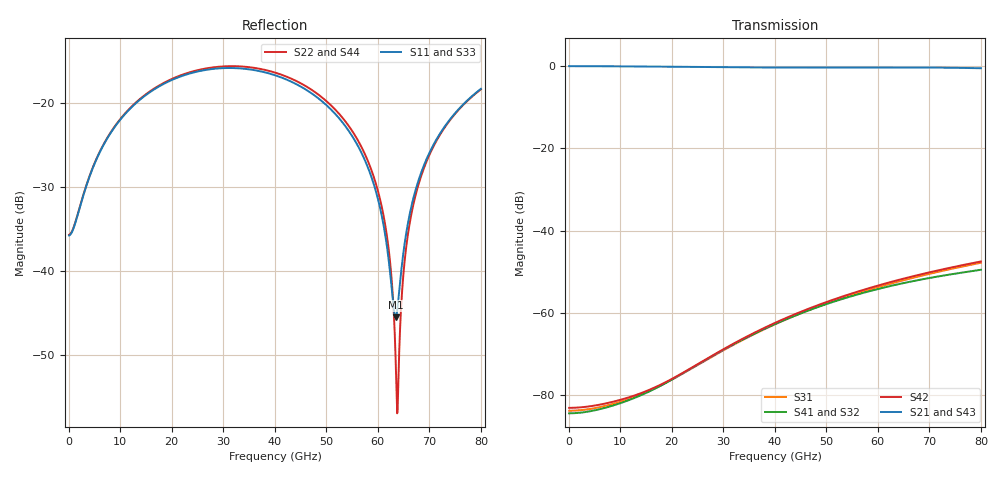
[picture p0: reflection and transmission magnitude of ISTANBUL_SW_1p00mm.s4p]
! TOUCHSTONE file generated by CST MICROWAVE STUDIO
! Date and time: Wed Oct 21 13:39:17 2026
! Project name: TEST0_XTALK_SW_1mm.cst
! Parameters = {L=1; L1=0.01; L2=0.076; PITCH=0.2; START_POSITION=0.075; W1=0.002; W2=0.022; gap=0.00415; interaxis=0.625; ln_thickness=0.000275; mtx=0.002; si_thickness=0.3; sio2_thickness=0.0047; w=1; wg=0.03; ws=0.01}
! Header version: 2024
! Port assignment regex: !\s*Touchstone port\s*([0-9]+)\s*=\s*(CST MWS port|CST DES external port|CST DES block port)\s*(.+)\s* \(\"(.*)\"\)(\s*mode\s*([0-9]+))?.*
! Touchstone port assignment:
! Touchstone port 1 = CST MWS port 1 ("")
! Touchstone port 2 = CST MWS port 2 ("")
! Touchstone port 3 = CST MWS port 3 ("")
! Touchstone port 4 = CST MWS port 4 ("")
# GHz S MA R 50
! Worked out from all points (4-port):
!   1000 points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, 80 MHz to 80 GHz, reference 50 ohm
!   strongest paths, dB at 80 MHz, 20.08 GHz, 40.08 GHz, 60.08 GHz, 80 GHz:
!     S21: -0.1, -0.3, -0.5, -0.4, -0.6
!     S43: -0.1, -0.3, -0.5, -0.4, -0.6
!     S42: -83.0, -75.9, -62.4, -53.3, -47.5
!     S41: -84.3, -76.1, -62.6, -54.2, -49.5
!     S32: -84.3, -76.1, -62.6, -54.2, -49.5
!     S31: -83.7, -76.1, -62.7, -53.7, -47.8
!   lowest |S11| = -45.5 dB at 63.44 GHz (marker M1), VSWR 1.01, Z = 50.5 + j0.0504 ohm
!   |S11| at or under -10 dB: start of sweep to end of sweep
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0.08  0.01632 2.1  0.9835 -0.2  6.532e-05 178.9  6.08e-05 -1.1
      0.9835 -0.2  0.01648 2.0  6.083e-05 -1.1  7.081e-05 178.9
      6.532e-05 178.9  6.083e-05 -1.1  0.01632 2.1  0.9835 -0.2
      6.08e-05 -1.1  7.081e-05 178.9  0.9835 -0.2  0.01648 2.0
15.2  0.1136 40.1  0.9738 -42.9  0.0001104 -15.5  0.0001087 161.2
      0.9738 -42.9  0.1148 35.8  0.0001087 161.2  0.000114 -13.5
      0.0001104 -15.5  0.0001087 161.2  0.1136 40.1  0.9738 -42.9
      0.0001087 161.2  0.000114 -13.5  0.9738 -42.9  0.1148 35.8
41.92  0.1403 -27.9  0.9464 -116.2  0.0008209 100.5  0.0008261 -80.9
       0.9464 -116.2  0.146 -40.9  0.0008261 -80.9  0.0008565 100.7
       0.0008209 100.5  0.0008261 -80.9  0.1403 -27.9  0.9464 -116.2
       0.0008261 -80.9  0.0008565 100.7  0.9464 -116.2  0.146 -40.9
58.4  0.03909 -64.1  0.9495 -161.6  0.001921 -15.9  0.00184 163.3
      0.9495 -161.6  0.04282 -87.5  0.00184 163.4  0.002011 -14.8
      0.001921 -15.9  0.00184 163.4  0.03909 -64.1  0.9495 -161.6
      0.00184 163.3  0.002011 -14.8  0.9495 -161.6  0.04282 -87.5
63.44  0.005305 5.4  0.9501 -175.9  0.002356 -51.4  0.002196 127.5
       0.9501 -175.9  0.003063 -76.1  0.002196 127.5  0.002464 -50.1
       0.002356 -51.4  0.002196 127.5  0.005304 5.4  0.9501 -175.9
       0.002196 127.5  0.002464 -50.1  0.9501 -175.9  0.003063 -76.1
68.16  0.0368 76.3  0.9483 170.7  0.002801 -85.2  0.00253 92.9
       0.9483 170.7  0.03496 61.2  0.00253 93.0  0.002924 -83.8
       0.002801 -85.2  0.00253 93.0  0.0368 76.3  0.9483 170.7
       0.00253 92.9  0.002924 -83.8  0.9483 170.7  0.03496 61.2
80  0.1222 54.5  0.9283 136.9  0.004067 -173.7  0.003344 -1.2
    0.9283 136.9  0.1214 31.7  0.003344 -1.1  0.004218 -171.9
    0.004067 -173.7  0.003344 -1.1  0.1222 54.5  0.9283 136.9
    0.003344 -1.2  0.004218 -171.9  0.9283 136.9  0.1214 31.7
